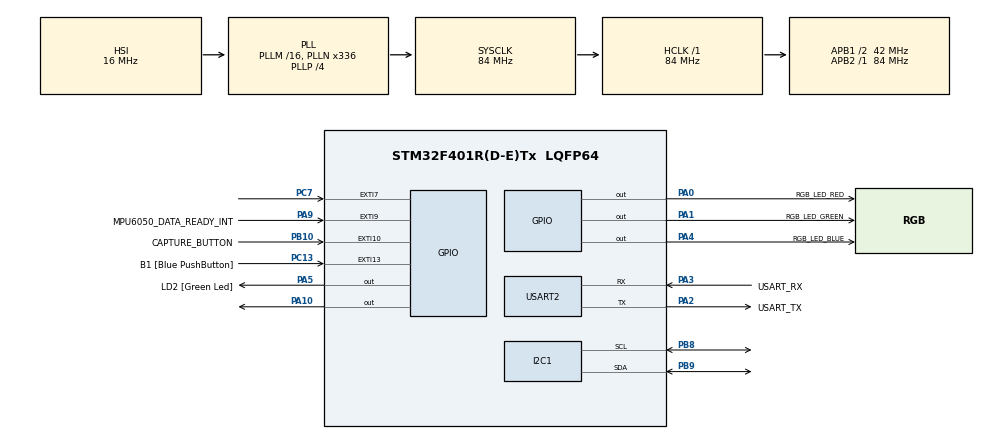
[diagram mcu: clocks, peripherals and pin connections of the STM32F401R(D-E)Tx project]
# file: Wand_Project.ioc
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Mcu.Family=STM32F4
Mcu.Name=STM32F401R(D-E)Tx
Mcu.Package=LQFP64
NVIC.EXTI15_10_IRQn=true\:0\:0\:false\:false\:true\:true\:true\:true
NVIC.EXTI9_5_IRQn=true\:0\:0\:false\:false\:true\:true\:true\:true
NVIC.PriorityGroup=NVIC_PRIORITYGROUP_0
NVIC.TIM3_IRQn=true\:0\:0\:false\:false\:true\:true\:true\:true
PA0-WKUP.GPIO_Label=RGB_LED_RED
PA0-WKUP.Signal=GPIO_Output
PA1.GPIO_Label=RGB_LED_GREEN
PA1.Signal=GPIO_Output
PA10.GPIO_PuPd=GPIO_PULLDOWN
PA10.Signal=GPIO_Output
PA13.GPIO_Label=TMS
PA13.Mode=Serial_Wire
PA13.Signal=SYS_JTMS-SWDIO
PA14.GPIO_Label=TCK
PA14.Mode=Serial_Wire
PA14.Signal=SYS_JTCK-SWCLK
PA2.GPIO_Label=USART_TX
PA2.GPIO_Mode=GPIO_MODE_AF_PP
PA2.GPIO_PuPd=GPIO_NOPULL
PA2.GPIO_Speed=GPIO_SPEED_FREQ_LOW
PA2.Mode=Asynchronous
PA2.Signal=USART2_TX
PA3.GPIO_Label=USART_RX
PA3.GPIO_Mode=GPIO_MODE_AF_PP
PA3.GPIO_PuPd=GPIO_NOPULL
PA3.GPIO_Speed=GPIO_SPEED_FREQ_LOW
PA3.Mode=Asynchronous
PA3.Signal=USART2_RX
PA4.GPIO_Label=RGB_LED_BLUE
PA4.Signal=GPIO_Output
PA5.GPIO_Label=LD2 [Green Led]
PA5.GPIO_Mode=GPIO_MODE_OUTPUT_PP
PA5.GPIO_PuPd=GPIO_NOPULL
PA5.GPIO_Speed=GPIO_SPEED_FREQ_LOW
PA5.Signal=GPIO_Output
PA9.GPIO_Label=MPU6050_DATA_READY_INT
PA9.GPIO_PuPd=GPIO_NOPULL
PA9.Signal=GPXTI9
PB10.GPIO_Label=CAPTURE_BUTTON
PB10.GPIO_PuPd=GPIO_PULLUP
PB10.Signal=GPXTI10
PB8.Mode=I2C
PB8.Signal=I2C1_SCL
PB9.Mode=I2C
PB9.Signal=I2C1_SDA
PC13-ANTI_TAMP.GPIO_Label=B1 [Blue PushButton]
PC13-ANTI_TAMP.GPIO_ModeDefaultEXTI=GPIO_MODE_IT_FALLING
PC13-ANTI_TAMP.GPIO_PuPd=GPIO_NOPULL
PC13-ANTI_TAMP.Signal=GPXTI13
PC14-OSC32_IN.Mode=LSE-External-Oscillator
PC14-OSC32_IN.Signal=RCC_OSC32_IN
PC15-OSC32_OUT.Mode=LSE-External-Oscillator
PC15-OSC32_OUT.Signal=RCC_OSC32_OUT
PC7.Signal=GPXTI7
PH0\ -\ OSC_IN.Mode=HSE-External-Clock-Source
PH0\ -\ OSC_IN.Signal=RCC_OSC_IN
PH1\ -\ OSC_OUT.Mode=HSE-External-Clock-Source
PH1\ -\ OSC_OUT.Signal=RCC_OSC_OUT
ProjectManager.HeapSize=0x200
ProjectManager.StackSize=0x400
ProjectManager.TargetToolchain=Makefile
RCC.48MHZClocksFreq_Value=48000000
RCC.AHBFreq_Value=84000000
RCC.APB1CLKDivider=RCC_HCLK_DIV2
RCC.APB1Freq_Value=42000000
RCC.APB1TimFreq_Value=84000000
RCC.APB2Freq_Value=84000000
RCC.APB2TimFreq_Value=84000000
RCC.CortexFreq_Value=84000000
RCC.HCLKFreq_Value=84000000
RCC.HSE_VALUE=8000000
RCC.HSI_VALUE=16000000
RCC.PLLN=336
RCC.PLLP=RCC_PLLP_DIV4
RCC.PLLQ=7
RCC.SYSCLKFreq_VALUE=84000000
RCC.SYSCLKSource=RCC_SYSCLKSOURCE_PLLCLK
RCC.VCOOutputFreq_Value=336000000
TIM3.Period=656
TIM3.Prescaler=65535
USART2.VirtualMode=VM_ASYNC
VP_TIM3_VS_ClockSourceINT.Mode=Internal
board=NUCLEO-F401RE

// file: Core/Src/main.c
/* USER CODE BEGIN Header */
/**
 ******************************************************************************
 * @file           : main.c
 * @brief          : Main program body
 ******************************************************************************
 * @attention
 *
 * Copyright (c) 2024 STMicroelectronics.
 * All rights reserved.
 *
 * This software is licensed under terms that can be found in the LICENSE file
 * in the root directory of this software component.
 * If no LICENSE file comes with this software, it is provided AS-IS.
 *
 ******************************************************************************
 */
/* USER CODE END Header */
#include "main.h"
#include "i2c.h"
#include "tim.h"
#include "usart.h"
#include "gpio.h"

/* USER CODE BEGIN PV */

#define DEBUG_STATE_DEF 0

Mpu_6050_handle_s MPU6050_handle;
Mpu_6050_handle_s* pMPU6050 = &MPU6050_handle;

HAL_StatusTypeDef wand_init()
{
  //30hz (1024/33)
  u8 sample_rate_divider = 33;

  u32 default_ring_config = 0x0;

  HAL_StatusTypeDef status = HAL_ERROR;
	status = MPU6050_init(pMPU6050, &hi2c1, 0x68, sample_rate_divider, 0x30, 0x40, 0x06 );

  status |= ring_buffer_init(&ring_buffer_capture_1, default_ring_config, "Capture 1", 0, 0, MPU_6050_NUM_DIMS, SPELL_SIZE + SPELL_COMPARISON_TICK_SIZE + 10);
	status |= ring_buffer_init(&ring_buffer_capture_2, default_ring_config, "Capture 2", 0, 0, MPU_6050_NUM_DIMS, SPELL_SIZE + SPELL_COMPARISON_TICK_SIZE + 10);
  status |= ring_buffer_init(&ring_buffer_capture_3, default_ring_config, "Capture 3", 0, 0, MPU_6050_NUM_DIMS, SPELL_SIZE);

  status |= ring_buffer_init(&ring_buffer_spell_1, default_ring_config, "Spell 1", ring_1_initial_data, sizeof(ring_1_initial_data), MPU_6050_NUM_DIMS,  SPELL_SIZE );
	status |= ring_buffer_init(&ring_buffer_spell_2, default_ring_config, "Spell 2", ring_2_initial_data, sizeof(ring_2_initial_data), MPU_6050_NUM_DIMS, SPELL_SIZE );
  status |= ring_buffer_init(&ring_buffer_spell_3, default_ring_config, "Spell 3", ring_3_initial_data, sizeof(ring_3_initial_data), MPU_6050_NUM_DIMS, SPELL_SIZE + 20);

  status |= ring_buffer_init(&ring_buffer_idle, default_ring_config, "Idle", 0, 0, MPU_6050_NUM_DIMS,  RING_BUFFER_MAX_SIZE);

	status |= dtw_init();

	capture_flag = 0;
	timer_flag = 0;
	data_ready_flag = 0;
	timer_flag = 0;
  set_led_color(LED_COLOR_RED);
  HAL_TIM_Base_Start_IT(&htim3);

  return status;
}

#define ADVANCE_STATE(next_state) last_state = state; state = next_state;

//this also does IDLE->CAPTURE_2
#define BUFFER_SWAP(last_state) current_buffer = (last_state == CAPTURE_2) ? &ring_buffer_capture_1 : &ring_buffer_capture_2;

/* USER CODE END PV */

void SystemClock_Config(void);

int main(void)
{

  /* MCU Configuration--------------------------------------------------------*/

  /* Reset of all peripherals, Initializes the Flash interface and the Systick. */
  HAL_Init();

  /* Configure the system clock */
  SystemClock_Config();

  /* Initialize all configured peripherals */
  MX_GPIO_Init();
  MX_USART2_UART_Init();
  MX_I2C1_Init();
  MX_TIM3_Init();
  /* USER CODE BEGIN 2 */

	HAL_StatusTypeDef status = HAL_ERROR;
	Mpu_6050_data_s data;
	Mpu_6050_data_s* pData;

  DTW_Result result;
  WAND_STATE state = IDLE;
  WAND_STATE next_state = CAPTURE_1;
  WAND_STATE last_state = INIT;
  ring_buffer_s* current_buffer;

	status = wand_init();

	if(status != HAL_OK)
	{
		return -1;
	}
  /* USER CODE END 2 */

  /* Infinite loop */
  /* USER CODE BEGIN WHILE */

  float pitch_accel = 0; float roll_accel  = 0;
  float pitch_accel_1 = 0; float roll_accel_1  = 0;
  float pitch_accel_2 = 0; float roll_accel_2  = 0;
  volatile float pitch_accel_deg = 0; volatile float roll_accel_deg  = 0;

  u32 num_samples = 0;
  u32 last_capture_num_samples = 0;
  u32 sample_window_start = 0;
  u8 first_run = 1;
  u8 MPU6050_hard_reset_flag = 0;

  state = INIT;
  #if DEBUG_STATE_DEF
    state = DEBUG_STATE;
  #endif
  //state = GET_SPELL;

  MPU6050_reset_fifo(pMPU6050);

	while (1)
	{
    /* USER CODE END WHILE */

    /* USER CODE BEGIN 3 */

		switch(state)
		{
      case INIT:
        current_buffer = &ring_buffer_capture_1;

        if(data_ready_flag && status != HAL_ERROR)
				{
					data_ready_flag = 0;
					status = ring_buffer_MPU6050_get_accel_sample(pMPU6050,  current_buffer);
				}

        if(current_buffer->write_index > SPELL_SIZE)
        {
          MPU6050_reset_fifo(pMPU6050);
          //ADVANCE_STATE(ROLLING_COMPARE);
          ADVANCE_STATE(CAPTURE_1);
        }

      break;

			case IDLE:

      if(timer_flag)
			{
				timer_flag = 0;

        if(finished_all_dtw_comparisons != 1)
        {
          uart_println("DTW did not finish in time!");
          state = HARD_RESET;
        }

        ADVANCE_STATE(CAPTURE_1);
			}

			break;

			case CAPTURE_1:
			case CAPTURE_2:

        ring_buffer_set_index(current_buffer, last_capture_num_samples);

        if(data_ready_flag && status != HAL_ERROR)
        {
          data_ready_flag = 0;
          status = ring_buffer_MPU6050_read_and_store(pMPU6050,  current_buffer, &last_capture_num_samples);
        }
        ADVANCE_STATE(ROLLING_COMPARE);
      break;

      case ROLLING_COMPARE:

          uart_println("%s last capture %d",current_buffer->name, last_capture_num_samples);
          get_accel_angles(current_buffer, &pitch_accel,&roll_accel);
          //uart_println("Angle estimates : Pitch %f, Roll %f", pitch_accel, roll_accel);

          ring_buffer_copy(&ring_buffer_capture_2, current_buffer);
          ring_buffer_pitch_roll_rotation(&ring_buffer_capture_2, pitch_accel, roll_accel);

          //uart_println("Comparison to %s",spell_name_1);
          result = DTW_Distance(&ring_buffer_capture_2, &ring_buffer_spell_1);
          uart_println("Spell 1 %d %d", result.x_accel_result, result.z_accel_result);
          if(result.x_accel_result < 10000 && result.z_accel_result < 10000)
          {
            uart_println("live match");
            uart_println("Angle estimates : Pitch %f, Roll %f", pitch_accel, roll_accel);
            ring_buffer_print_to_write_index(&ring_buffer_capture_2);
          }

          result = DTW_Distance(&ring_buffer_capture_2, &ring_buffer_spell_2);
          uart_println("Spell 2 %d %d", result.x_accel_result, result.z_accel_result);

          //TEMP TEMP TEMP FOR TIMING
          //MPU6050_reset_fifo(pMPU6050);
          HAL_Delay(150);

          ADVANCE_STATE(CAPTURE_1);

      break;

			case PRINT_AND_COMPARE:

				uart_println("Ring Buffer 1");
				//ring_buffer_MPU6050_apply_mean_centering(&ring_buffer_capture_1);
				//ring_buffer_print_to_write_index(&ring_buffer_capture_1);

				uart_println("Ring Buffer 2");
				//ring_buffer_MPU6050_apply_mean_centering(&ring_buffer_capture_2);
				//ring_buffer_print_to_write_index(&ring_buffer_capture_2);

        uart_println("Angle estimates 1 : Pitch %f, Roll %f", pitch_accel_1, roll_accel_1);
        uart_println("Angle estimates 2 : Pitch %f, Roll %f", pitch_accel_2, roll_accel_2 );

        uart_println("DTW pre rotation");
        result = DTW_Distance(&ring_buffer_capture_1, &ring_buffer_capture_2);

        //temp
        uart_println("Buf1 Pre rotation");
        ring_buffer_print_to_write_index(&ring_buffer_capture_1);
				result = DTW_Distance(&ring_buffer_capture_1, &ring_buffer_spell_2);
        uart_println("Buf2 Pre rotation");
        ring_buffer_print_to_write_index(&ring_buffer_capture_2);
				result = DTW_Distance(&ring_buffer_capture_2, &ring_buffer_spell_2);

        ring_buffer_pitch_roll_rotation(&ring_buffer_capture_1,pitch_accel_1,roll_accel_1);
        ring_buffer_pitch_roll_rotation(&ring_buffer_capture_2,pitch_accel_2,roll_accel_2);

        uart_println("DTW Post rotation");
				result = DTW_Distance(&ring_buffer_capture_1, &ring_buffer_capture_2);

        //temp
        uart_println("Buf1 post rotation");
        ring_buffer_print_to_write_index(&ring_buffer_capture_1);
				result = DTW_Distance(&ring_buffer_capture_1, &ring_buffer_spell_2);
        uart_println("Buf2 post rotation");
        ring_buffer_print_to_write_index(&ring_buffer_capture_2);
				result = DTW_Distance(&ring_buffer_capture_2, &ring_buffer_spell_2);

				ring_buffer_clear(&ring_buffer_capture_1);
				ring_buffer_clear(&ring_buffer_capture_2);

				state = IDLE;
        next_state = CAPTURE_1;
        capture_flag = 0;

			break;

			case COMPARE_STATIC:
				uart_println("Ring Buffer 1");

        uart_println("Circle DTW");
        uart_println("Angle estimates : Pitch %f, Roll %f", pitch_accel_1, roll_accel_1 );

        ring_buffer_print_to_write_index(&ring_buffer_capture_1);

        result = DTW_Distance(&ring_buffer_capture_1, &ring_buffer_capture_2);
				print_dtw_result(&result);

        if(result.x_accel_result < DTW_X_THRESHOLD && result.z_accel_result < DTW_Z_THRESHOLD)
        {
          set_led_color(LED_COLOR_GREEN);
        }
        else
        {
          set_led_color(LED_COLOR_RED);
        }

				ring_buffer_clear(&ring_buffer_capture_1);
				state = IDLE;
			break;

      case DEBUG_STATE:

        ring_buffer_print_to_write_index(&ring_buffer_spell_3);
        result = DTW_Distance(&ring_buffer_spell_1, &ring_buffer_spell_3);
				print_dtw_result(&result);

        result = DTW_Distance(&ring_buffer_spell_1, &ring_buffer_spell_2);
				print_dtw_result(&result);

        u32 startTime = HAL_GetTick();
        u32 endTime;
        for(int i = 0; i<200; i++)
        {
          //memcpy(ring_buffer_spell_1.buffer[0],ring_buffer_spell_1.buffer[3],ring_buffer_spell_1.write_index*sizeof(buffer_element));
        }
        endTime = HAL_GetTick();
        uart_println("Memcpy (200) time : %d Size : %d", endTime - startTime,ring_buffer_spell_1.write_index);

        startTime = HAL_GetTick();
        u32 n = 15;
        for(int i = 0; i<n; i++)
        {
          ring_buffer_MPU6050_get_accel_sample(pMPU6050, &ring_buffer_idle);
        }
        endTime = HAL_GetTick();
        uart_println("%d Samples : %d ms",n, endTime - startTime);

        ring_buffer_print_to_write_index(&ring_buffer_capture_3);
        ring_buffer_print_to_write_index(&ring_buffer_spell_1);
        startTime = HAL_GetTick();
        ring_buffer_copy(&ring_buffer_capture_3,&ring_buffer_spell_1);
        endTime = HAL_GetTick();
        uart_println("Ringbuffcpy time : %d Size : %d x %d", endTime - startTime,ring_buffer_spell_1.dim_size,ring_buffer_spell_1.num_dims);

        startTime = HAL_GetTick();
        ring_buffer_set_index(&ring_buffer_capture_3,15);
        endTime = HAL_GetTick();
        ring_buffer_print_to_write_index(&ring_buffer_capture_3);
        uart_println("Setindex time : %d Size : %d x %d", endTime - startTime);

        ring_buffer_print_to_write_index(&ring_buffer_capture_3);
        startTime = HAL_GetTick();
        status = MPU6050_get_fifo_data(pMPU6050, &num_samples);
        ring_buffer_MPU6050_read_and_store(pMPU6050, &ring_buffer_capture_3, &last_capture_num_samples);
        endTime = HAL_GetTick();
        uart_println("%d Samples : %d ms",num_samples, endTime - startTime);

        //this should wait for an entire button press cycle
        while(!capture_flag){
            // startTime = HAL_GetTick();
            // status = MPU6050_get_fifo_data(pMPU6050, &num_samples);
            // ring_buffer_MPU6050_read_and_store(pMPU6050, &ring_buffer_capture_3);
            // endTime = HAL_GetTick();
            // uart_println("%d Samples : %d ms",num_samples, endTime - startTime);
            // HAL_Delay(1000);
          };
        while(capture_flag){};

      break;

      case GET_SPELL:
        if(capture_flag)
        {
          current_buffer = &ring_buffer_capture_1;
          ring_buffer_clear(current_buffer);
          while(current_buffer->write_index < SPELL_SIZE)
          {
            if(data_ready_flag && status != HAL_ERROR)
            {
              data_ready_flag = 0;
              status = ring_buffer_MPU6050_get_accel_sample(pMPU6050,  current_buffer);
            }
          }

          get_accel_angles(current_buffer, &pitch_accel,&roll_accel);
          uart_println("Angle estimates : Pitch %f, Roll %f", pitch_accel, roll_accel);

          ring_buffer_pitch_roll_rotation(current_buffer, pitch_accel, roll_accel);

          ring_buffer_print_to_write_index(current_buffer);
        }
        while(capture_flag){};
      break;

			case HARD_RESET:
				//hard reset

				uart_println("MPU6050 Hard Reset Needed");
				//debug. need a circuit to powercycle the accelerometer
				while(1){};
			break;

			default:
				uart_println("UNKNOWN STATE");
			break;

		}

    if(status == HAL_ERROR)
    {
      state = HARD_RESET;
    }

	}
  /* USER CODE END 3 */
}

void SystemClock_Config(void)
{
  RCC_OscInitTypeDef RCC_OscInitStruct = {0};
  RCC_ClkInitTypeDef RCC_ClkInitStruct = {0};

  /** Configure the main internal regulator output voltage
  */
  __HAL_RCC_PWR_CLK_ENABLE();
  __HAL_PWR_VOLTAGESCALING_CONFIG(PWR_REGULATOR_VOLTAGE_SCALE2);

  /** Initializes the RCC Oscillators according to the specified parameters
  * in the RCC_OscInitTypeDef structure.
  */
  RCC_OscInitStruct.OscillatorType = RCC_OSCILLATORTYPE_HSI;
  RCC_OscInitStruct.HSIState = RCC_HSI_ON;
  RCC_OscInitStruct.HSICalibrationValue = RCC_HSICALIBRATION_DEFAULT;
  RCC_OscInitStruct.PLL.PLLState = RCC_PLL_ON;
  RCC_OscInitStruct.PLL.PLLSource = RCC_PLLSOURCE_HSI;
  RCC_OscInitStruct.PLL.PLLM = 16;
  RCC_OscInitStruct.PLL.PLLN = 336;
  RCC_OscInitStruct.PLL.PLLP = RCC_PLLP_DIV4;
  RCC_OscInitStruct.PLL.PLLQ = 7;
  if (HAL_RCC_OscConfig(&RCC_OscInitStruct) != HAL_OK)
  {
    Error_Handler();
  }

  /** Initializes the CPU, AHB and APB buses clocks
  */
  RCC_ClkInitStruct.ClockType = RCC_CLOCKTYPE_HCLK|RCC_CLOCKTYPE_SYSCLK
                              |RCC_CLOCKTYPE_PCLK1|RCC_CLOCKTYPE_PCLK2;
  RCC_ClkInitStruct.SYSCLKSource = RCC_SYSCLKSOURCE_PLLCLK;
  RCC_ClkInitStruct.AHBCLKDivider = RCC_SYSCLK_DIV1;
  RCC_ClkInitStruct.APB1CLKDivider = RCC_HCLK_DIV2;
  RCC_ClkInitStruct.APB2CLKDivider = RCC_HCLK_DIV1;

  if (HAL_RCC_ClockConfig(&RCC_ClkInitStruct, FLASH_LATENCY_2) != HAL_OK)
  {
    Error_Handler();
  }
}

void Error_Handler(void)
{
	__disable_irq();
	while (1)
	{
	}
}
